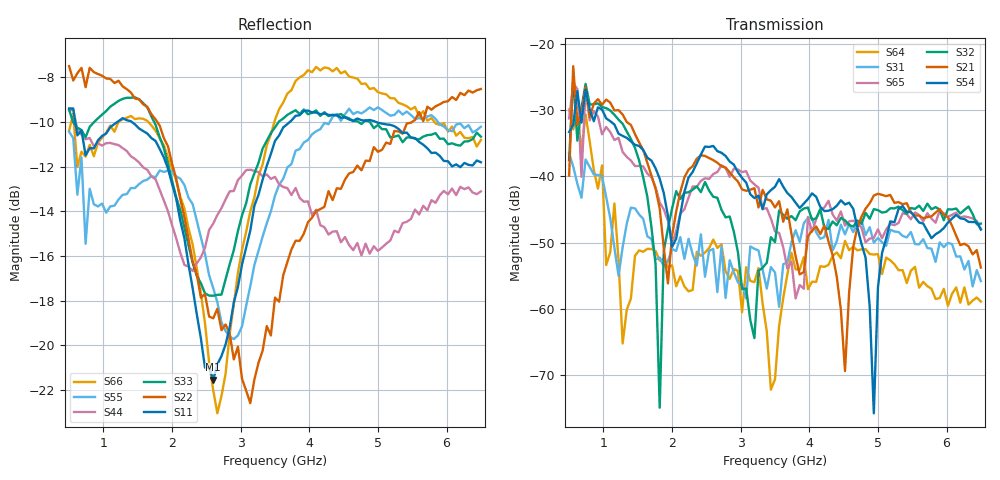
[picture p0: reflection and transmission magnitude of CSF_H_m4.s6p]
!Keysight Technologies,M9804A,MY58100912,A.14.10.03
!Date: Thursday, April 27, 2023 10:28:33
!Correction: S11(C  6-Port  )
!S12(C  6-Port  )
!S13(C  6-Port  )
!S14(C  6-Port  )
!S15(C  6-Port  )
!S16(C  6-Port  )
!S21(C  6-Port  )
!S22(C  6-Port  )
!S23(C  6-Port  )
!S24(C  6-Port  )
!S25(C  6-Port  )
!S26(C  6-Port  )
!S31(C  6-Port  )
!S32(C  6-Port  )
!S33(C  6-Port  )
!S34(C  6-Port  )
!S35(C  6-Port  )
!S36(C  6-Port  )
!S41(C  6-Port  )
!S42(C  6-Port  )
!S43(C  6-Port  )
!S44(C  6-Port  )
!S45(C  6-Port  )
!S46(C  6-Port  )
!S51(C  6-Port  )
!S52(C  6-Port  )
!S53(C  6-Port  )
!S54(C  6-Port  )
!S55(C  6-Port  )
!S56(C  6-Port  )
!S61(C  6-Port  )
!S62(C  6-Port  )
!S63(C  6-Port  )
!S64(C  6-Port  )
!S65(C  6-Port  )
!S66(C  6-Port  )
!S6P File: Measurement: :
# Hz S  RI  R 50
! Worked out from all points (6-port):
!   101 points, 500 MHz to 6.5 GHz, reference 50 ohm
!   strongest paths, dB at 500 MHz, 2 GHz, 3.5 GHz, 5 GHz, 6.5 GHz:
!     S54: -33.3, -50.6, -41.6, -56.8, -48.0
!     S21: -39.9, -49.0, -44.7, -42.6, -53.8
!     S32: -37.5, -44.9, -49.9, -45.1, -47.1
!     S65: -31.3, -50.4, -48.3, -48.0, -47.9
!     S31: -36.5, -51.0, -54.5, -49.3, -55.8
!     S64: -29.9, -53.4, -70.6, -51.7, -58.9
!   lowest |S11| = -21.5 dB at 2.6 GHz (marker M1), VSWR 1.18, Z = 42.6 + j2.17 ohm
!   |S11| at or under -10 dB: 590.3 MHz to 1.201 GHz (610.6 MHz wide, 68.2 % of centre); 1.416 GHz to 3.714 GHz (2.297 GHz wide, 89.6 % of centre); 4.975 GHz to end of sweep
